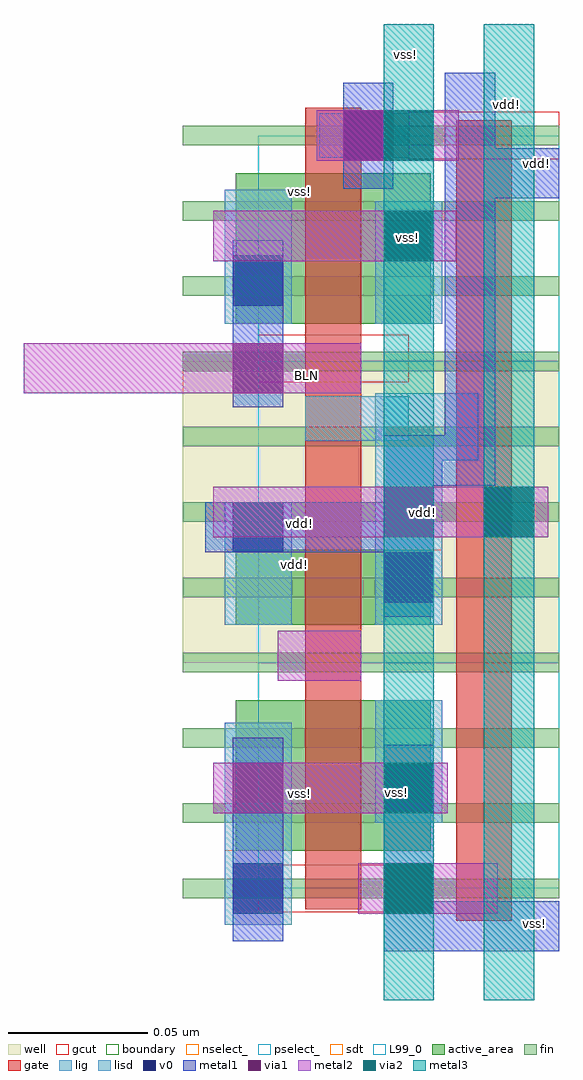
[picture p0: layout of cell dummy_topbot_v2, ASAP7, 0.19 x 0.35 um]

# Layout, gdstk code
import gdstk
lib = gdstk.Library(unit=1e-6, precision=2.5e-10)
def R(c, l, rs):  # rectangles x0, y0, x1, y1
    for r in rs: c.add(gdstk.rectangle(r[:2], r[2:], *l))
def A(c, l, x, y, w, h, nx, ny, dx, dy):  # array of equal rectangles
    R(c, l, [(x+i*dx, y+j*dy, x+i*dx+w, y+j*dy+h) for i in range(nx) for j in range(ny)])
def P(c, l, *ps):  # polygons
    for p in ps: c.add(gdstk.Polygon(p, *l))
well = (1, 0)
fin = (2, 0)
gate = (7, 0)
gcut = (10, 0)
active_area = (11, 0)
nselect_ = (12, 0)
pselect_ = (13, 0)
lig = (16, 0)
lisd = (17, 0)
v0 = (18, 0)
metal1 = (19, 0)
metal2 = (20, 0)
via1 = (21, 0)
via2 = (25, 0)
metal3 = (30, 0)
sdt = (88, 0)
L99_0 = (99, 0)
boundary = (100, 0)

dummy_topbot_v2 = lib.new_cell('dummy_topbot_v2')
R(dummy_topbot_v2, well, [(-0.027,0.0945,0.108,0.2025)])
A(dummy_topbot_v2, fin, -0.027, 0.01, 0.135, 0.007, 1, 11, 0, 0.027)
R(dummy_topbot_v2, gate, [(0.071,0.002,0.091,0.289), (0.017,0.006,0.037,0.2935)])
R(dummy_topbot_v2, gcut, [(0,0.005,0.054,0.022), (0,0.195,0.054,0.212), (0.054,0.275,0.108,0.292)])
R(dummy_topbot_v2, active_area, [(-0.008,0.027,0.062,0.081), (-0.008,0.108,0.062,0.135), (-0.008,0.216,0.062,0.27)])
R(dummy_topbot_v2, nselect_, [(0,0.0135,0.108,0.0945), (0,0.2025,0.108,0.2835)])
R(dummy_topbot_v2, pselect_, [(0,0.0945,0.108,0.2025)])
R(dummy_topbot_v2, lig, [(0.017,0.174,0.054,0.19), (0.022,0.2755,0.054,0.2915)])
R(dummy_topbot_v2, lisd, [(-0.012,0.0005,0.012,0.073), (0.042,0.037,0.066,0.081), (-0.012,0.108,0.012,0.152), (0.042,0.108,0.066,0.191), (0.042,0.167,0.079,0.191), (-0.012,0.216,0.012,0.264), (0.042,0.216,0.066,0.26)])
R(dummy_topbot_v2, v0, [(-0.009,0.0045,0.009,0.0225), (0.045,0.0405,0.063,0.0585), (0.045,0.116,0.063,0.134), (-0.009,0.134,0.009,0.152), (-0.009,0.2225,0.009,0.2405), (0.0305,0.2745,0.0485,0.2925)])
R(dummy_topbot_v2, metal1, [(0.045,-0.009,0.063,0.065), (0.059,-0.009,0.108,0.009), (-0.009,-0.0055,0.009,0.0675), (0.045,0.111,0.063,0.137), (0.045,0.158,0.085,0.176), (0.067,0.158,0.085,0.306), (-0.009,0.186,0.009,0.246), (0.067,0.261,0.108,0.279), (0.0305,0.2645,0.0485,0.3025)])
P(dummy_topbot_v2, metal1, [(-0.019,0.134),(-0.019,0.152),(0.045,0.152),(0.045,0.176),(0.063,0.176),(0.063,0.134)])
R(dummy_topbot_v2, metal2, [(0.036,0.0045,0.086,0.0225), (-0.016,0.0405,0.068,0.0585), (0.007,0.088,0.037,0.106), (-0.016,0.1395,0.104,0.1575), (-0.084,0.191,0.037,0.209), (-0.016,0.2385,0.071,0.2565), (0.021,0.2745,0.072,0.2925)])
R(dummy_topbot_v2, via1, [(0.045,0.0045,0.063,0.0225), (-0.009,0.0405,0.009,0.0585), (0.045,0.1395,0.063,0.1575), (-0.009,0.191,0.009,0.209), (0.0305,0.2745,0.0485,0.2925)])
R(dummy_topbot_v2, via2, [(0.045,0.0045,0.063,0.0225), (0.045,0.0405,0.063,0.0585), (0.081,0.1395,0.099,0.1575), (0.045,0.2385,0.063,0.2565), (0.045,0.2745,0.063,0.2925)])
R(dummy_topbot_v2, metal3, [(0.045,-0.0265,0.063,0.3235), (0.081,-0.0265,0.099,0.3235)])
R(dummy_topbot_v2, sdt, [(-0.012,0.027,0.012,0.073), (0.042,0.037,0.066,0.081), (-0.012,0.108,0.012,0.135), (0.042,0.108,0.066,0.135), (-0.012,0.216,0.012,0.264), (0.042,0.216,0.066,0.26)])
R(dummy_topbot_v2, L99_0, [(0,0.0135,0.108,0.2835)])
R(dummy_topbot_v2, boundary, [(0,0.0135,0.108,0.2835)])
dummy_topbot_v2.add(gdstk.Label('vdd!', (0.013,0.1295), layer=1, texttype=0))
dummy_topbot_v2.add(gdstk.Label('vss!', (0.0495,0.048), layer=20, texttype=251))
dummy_topbot_v2.add(gdstk.Label('BLN', (0.0175,0.1975), layer=20, texttype=251))
dummy_topbot_v2.add(gdstk.Label('vdd!', (0.059,0.1485), layer=20, texttype=251))
dummy_topbot_v2.add(gdstk.Label('vss!', (0.0535,0.247), layer=20, texttype=251))
dummy_topbot_v2.add(gdstk.Label('vss!', (0.015,0.2635), layer=3, texttype=251))
dummy_topbot_v2.add(gdstk.Label('vss!', (0.015,0.0475), layer=3, texttype=251))
dummy_topbot_v2.add(gdstk.Label('vdd!', (0.015,0.1445), layer=1, texttype=251))
dummy_topbot_v2.add(gdstk.Label('vss!', (0.099,0.001), layer=19, texttype=251))
dummy_topbot_v2.add(gdstk.Label('vdd!', (0.1,0.2735), layer=19, texttype=251))
dummy_topbot_v2.add(gdstk.Label('vdd!', (0.089,0.2945), layer=30, texttype=251))
dummy_topbot_v2.add(gdstk.Label('vss!', (0.053,0.3125), layer=30, texttype=251))

lib.write_gds('dummy_topbot_v2.gds')
